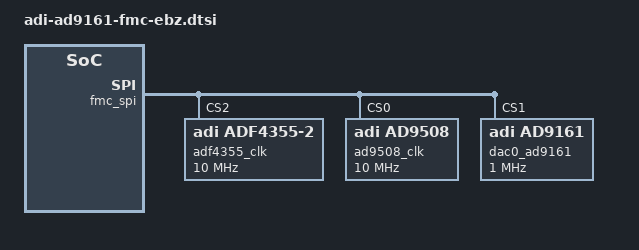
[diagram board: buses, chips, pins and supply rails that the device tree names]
// SPDX-License-Identifier: GPL-2.0
/*
 * dtsi file for AD916x-FMC-EBZ on Xilinx ZynqMP ZCU102 Rev 1.0
 *
 * Copyright (C) 2025 Analog Devices Inc.
 */
#include <dt-bindings/iio/frequency/ad9508.h>

/ {
	clocks {
		adf4355_clkin: clock@0 {
			compatible = "fixed-clock";
			clock-frequency = <120000000>;
			clock-output-names = "clkin";
			#clock-cells = <0>;
		};

		adf4355_out_div4: hmc365 {
			compatible = "fixed-factor-clock";

			clock-div = <4>;
			clock-mult = <1>;
			clocks = <&adf4355_clk>;

			#clock-cells = <0>;
		};

		ad9508_clkin: clock@1 {
			compatible = "fixed-factor-clock";

			clock-div = <1>;
			clock-mult = <1>;
			clocks = <&adf4355_out_div4>;

			#clock-cells = <0>;
		};
	};
};

&fmc_spi {
	adf4355_clk: adf4355@2 {
		compatible = "adi,adf4355-2";
		reg = <2>;

		spi-max-frequency = <10000000>;

		clocks = <&adf4355_clkin>;
		clock-names = "clkin";
		clock-scales = <1 1>;

		clock-output-names = "adf4355_pll";
		#clock-cells = <0>;

		adi,charge-pump-current = <900>;
		adi,muxout-select = <6>;
		adi,output-a-power = <3>;
		adi,output-b-power = <3>;
		adi,charge-pump-negative-bleed-enable;
		adi,reference-differential-input-enable;
		adi,muxout-level-3v3-enable;
		adi,power-up-frequency = /bits/ 64 <5000000000>;
		adi,output-a-enable;
		adi,output-b-enable;
		adi,clock-shift = <1>;
	};

	ad9508_clk: ad9508@0 {
		#address-cells = <1>;
		#size-cells = <0>;
		#clock-cells = <1>;
		compatible = "adi,ad9508";
		reg = <0>;
		spi-cpol;
		spi-cpha;

		clocks = <&ad9508_clkin>;

		spi-max-frequency = <10000000>;
		clock-output-names = "ad9508-1_out0", "ad9508-1_out1", "ad9508-1_out2", "ad9508-1_out3";
		jesd204-device;
		adi,write-mode-only;
		#jesd204-cells = <2>;
		jesd204-sysref-provider;

		ad9508_0_c0:channel@0 {
			reg = <0>;
			adi,extended-name = "REF_CLK";
			adi,driver-mode = <(DRIVER_PHASE_NORMAL | DRIVER_MODE_LVDS_1_00)>;
			adi,divider-phase = <0>;
			adi,channel-divider = <4>;
		};

		ad9508_0_c2:channel@2 {
			reg = <2>;
			adi,extended-name = "SYSREF2";
			adi,driver-mode = <(DRIVER_PHASE_NORMAL | DRIVER_MODE_LVDS_1_00)>;
			adi,divider-phase = <0>;
			adi,channel-divider = <32>;
		};

		ad9508_0_c3:channel@3 {
			reg = <3>;
			adi,extended-name = "SYSREF";
			adi,driver-mode = <(DRIVER_PHASE_NORMAL | DRIVER_MODE_LVDS_1_00)>;
			adi,divider-phase = <0>;
			adi,channel-divider = <32>;
		};
	};

	dac0_ad9161: ad9161@1 {
		#address-cells = <1>;
		#size-cells = <0>;
		compatible = "adi,ad9161";
		reg = <1>;
		spi-max-frequency = <1000000>;
		clocks =  <&adf4355_clk 0>;
		clock-names = "dac_clk";
		spi-cpol;
		spi-cpha;

		adi,full-scale-current-mircoamp = <40000>;
		dac_clk-clock-scales = <1 1>;
		jesd204-device;
		#jesd204-cells = <2>;
		jesd204-top-device = <0>; /* This is the TOP device */
		jesd204-link-ids = <0>;
		jesd204-inputs = <&axi_ad9161_core 0 0>;

		adi,jesd-subclass = <1>;
		adi,dac-interpolation = <2>;
		adi,channel-interpolation = <1>;
		adi,clock-output-divider = <1>;
		adi,syncoutb-signal-type-lvds-enable;
		//adi,scrambling = <1>;
		adi,sysref-mode = <2>; /* SYSREF_CONTINUOUS */

		adi,subclass = <1>;			/* JESD SUBCLASS 0,1,2 */
		adi,version = <1>;			/* JESD VERSION 0=204A,1=204B,2=204C */
		adi,converters-per-device = <2>;	/* JESD M */
		adi,octets-per-frame = <1>;		/* JESD F */
		adi,frames-per-multiframe = <32>;	/* JESD K */
		adi,converter-resolution = <16>;	/* JESD N */
		adi,bits-per-sample = <16>;		/* JESD NP' */
		adi,control-bits-per-sample = <0>;	/* JESD CS */
		adi,lanes-per-device = <8>;		/* JESD L */
		adi,samples-per-converter-per-frame = <2>; /* JESD S */
		adi,interpolation = <2>;
	};
};
